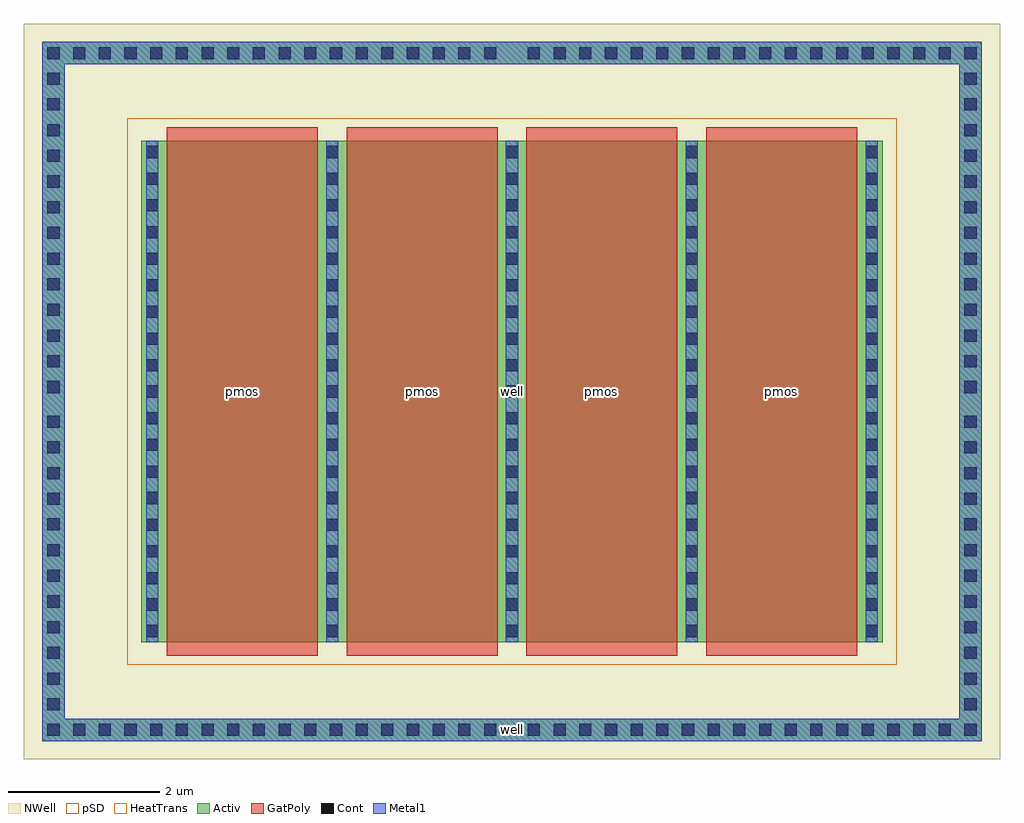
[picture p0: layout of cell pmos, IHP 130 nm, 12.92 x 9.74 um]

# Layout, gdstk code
import gdstk
lib = gdstk.Library(unit=1e-6, precision=1e-09)
def R(c, l, rs):  # rectangles x0, y0, x1, y1
    for r in rs: c.add(gdstk.rectangle(r[:2], r[2:], *l))
def A(c, l, x, y, w, h, nx, ny, dx, dy):  # array of equal rectangles
    R(c, l, [(x+i*dx, y+j*dy, x+i*dx+w, y+j*dy+h) for i in range(nx) for j in range(ny)])
def P(c, l, *ps):  # polygons
    for p in ps: c.add(gdstk.Polygon(p, *l))
Activ = (1, 0)
GatPoly = (5, 0)
Cont = (6, 0)
Metal1 = (8, 0)
pSD = (14, 0)
NWell = (31, 0)
HeatTrans = (51, 0)

pmos = lib.new_cell('pmos')
A(pmos, Activ, 0, 0, 0.3, 0.3, 5, 1, 2.38, 0)
R(pmos, Activ, [(0,0,9.82,6.64)])
P(pmos, Activ, [(-1.31,-1.31),(-1.31,7.65),(-1.01,7.65),(-1.01,-1.01),(10.83,-1.01),(10.83,7.65),(-1.31,7.65),(-1.31,7.95),(11.13,7.95),(11.13,-1.31)])
A(pmos, GatPoly, 0.34, -0.18, 2, 7, 4, 1, 2.38, 0)
R(pmos, GatPoly, [(0.34,-0.18,2.34,6.82)])
A(pmos, Cont, -1.24, -1.24, 0.16, 0.16, 18, 2, 0.34, 8.96)
A(pmos, Cont, 5.12, -1.24, 0.16, 0.16, 18, 2, 0.34, 8.96)
A(pmos, Cont, -1.24, -0.9, 0.16, 0.16, 1, 12, 0, 0.34)
A(pmos, Cont, 10.9, -0.9, 0.16, 0.16, 1, 12, 0, 0.34)
A(pmos, Cont, 0.07, 0.07, 0.16, 0.16, 5, 3, 2.38, 0.35)
A(pmos, Cont, 0.07, 1.125, 0.16, 0.16, 5, 2, 2.38, 0.35)
A(pmos, Cont, 0.07, 1.83, 0.16, 0.16, 5, 2, 2.38, 0.35)
A(pmos, Cont, 0.07, 2.535, 0.16, 0.16, 5, 2, 2.38, 0.35)
A(pmos, Cont, 0.07, 3.24, 0.16, 0.16, 5, 3, 2.38, 0.35)
A(pmos, Cont, -1.24, 3.3, 0.16, 0.16, 1, 13, 0, 0.34)
A(pmos, Cont, 10.9, 3.3, 0.16, 0.16, 1, 13, 0, 0.34)
A(pmos, Cont, 0.07, 4.295, 0.16, 0.16, 5, 2, 2.38, 0.35)
A(pmos, Cont, 0.07, 5, 0.16, 0.16, 5, 2, 2.38, 0.35)
A(pmos, Cont, 0.07, 5.705, 0.16, 0.16, 5, 2, 2.38, 0.35)
A(pmos, Cont, 0.07, 6.41, 0.16, 0.16, 5, 1, 2.38, 0)
A(pmos, Metal1, 2.45, 0, 0.16, 6.64, 4, 1, 2.38, 0)
R(pmos, Metal1, [(-1.31,-1.31,11.13,-1.01), (-1.31,-1.01,-1.01,7.65), (10.83,-1.01,11.13,7.65), (0.07,0,0.23,6.64), (0.07,0,0.23,6.64), (2.45,0,2.61,6.64), (-1.31,7.65,11.13,7.95)])
R(pmos, pSD, [(-0.18,-0.3,10,6.94)])
R(pmos, NWell, [(-1.55,-1.55,11.37,8.19), (-0.31,-0.31,10.13,6.95)])
A(pmos, HeatTrans, 0.34, -0.18, 2, 7, 4, 1, 2.38, 0)
pmos.add(gdstk.Label('well', (4.91,3.32), layer=31, texttype=0))
pmos.add(gdstk.Label('pmos', (1.34,3.32), layer=63, texttype=0))
pmos.add(gdstk.Label('well', (4.91,-1.16), layer=63, texttype=0))
pmos.add(gdstk.Label('pmos', (1.34,3.32), layer=51, texttype=0))
pmos.add(gdstk.Label('pmos', (3.72,3.32), layer=51, texttype=0))
pmos.add(gdstk.Label('pmos', (6.1,3.32), layer=51, texttype=0))
pmos.add(gdstk.Label('pmos', (8.48,3.32), layer=51, texttype=0))

lib.write_gds('pmos.gds')
